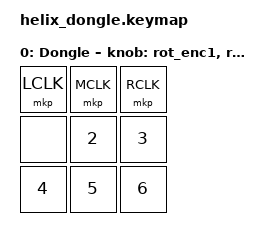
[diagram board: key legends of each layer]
#include <behaviors.dtsi>
#include <behaviors/mouse_keys.dtsi>
#include <dt-bindings/zmk/keys.h>
#include <dt-bindings/zmk/mouse.h>
#include <zephyr/dt-bindings/input/input-event-codes.h>

/ {
    behaviors {
        ec_s_v: mouse_scroll_v {
            compatible = "zmk,behavior-input-two-axis";
            #binding-cells = <1>;
            x-input-code = <INPUT_REL_HWHEEL>;
            y-input-code = <INPUT_REL_WHEEL>;
            time-to-max-speed-ms = <177>;
            acceleration-exponent = <0>;
        };

        ec_s_h: mouse_scroll_h {
            compatible = "zmk,behavior-input-two-axis";
            #binding-cells = <1>;
            x-input-code = <INPUT_REL_HWHEEL>;
            y-input-code = <INPUT_REL_WHEEL>;
            time-to-max-speed-ms = <177>;
            acceleration-exponent = <0>;
        };

        rot_enc1: rot_enc1 {
            compatible = "zmk,behavior-sensor-rotate";
            #sensor-binding-cells = <0>;
            bindings = <&ec_s_v MOVE_Y(-37)>, <&ec_s_v MOVE_Y(37)>;
            tap-ms = <65>;
        };

        rot_enc2: rot_enc2 {
            compatible = "zmk,behavior-sensor-rotate";
            #sensor-binding-cells = <0>;
            bindings = <&ec_s_h MOVE_X(-37)>, <&ec_s_h MOVE_X(37)>;
            tap-ms = <65>;
        };
    };

    keymap {
        compatible = "zmk,keymap";
        default_layer {
            display-name = "Dongle";
            bindings = <
                &mkp LCLK    &mkp MCLK &mkp RCLK
                &none        &kp N2    &kp N3
                &kp N4       &kp N5    &kp N6
            >;
            sensor-bindings = <&rot_enc1 &rot_enc2>;
        };
    };
};
